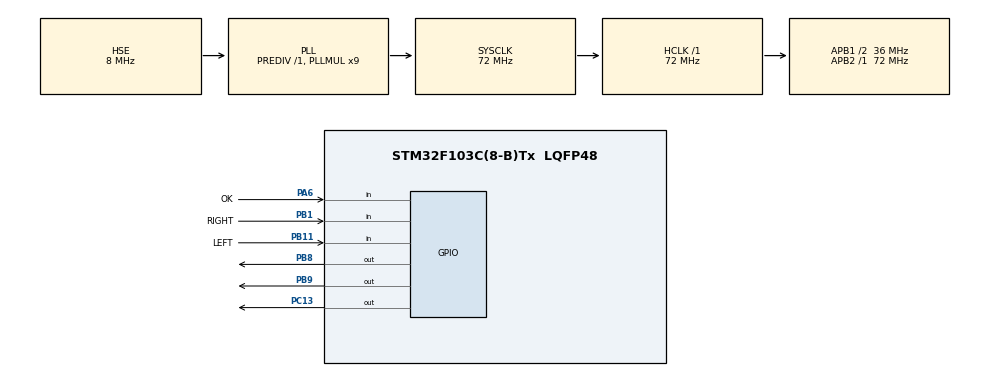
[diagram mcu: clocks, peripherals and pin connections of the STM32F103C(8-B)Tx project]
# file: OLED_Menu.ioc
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Mcu.Family=STM32F1
Mcu.Name=STM32F103C(8-B)Tx
Mcu.Package=LQFP48
NVIC.PriorityGroup=NVIC_PRIORITYGROUP_4
NVIC.TIM1_UP_IRQn=true\:0\:0\:false\:false\:true\:true\:true\:true
PA13.Mode=Serial_Wire
PA13.Signal=SYS_JTMS-SWDIO
PA14.Mode=Serial_Wire
PA14.Signal=SYS_JTCK-SWCLK
PA6.GPIO_Label=OK
PA6.GPIO_PuPd=GPIO_PULLUP
PA6.Signal=GPIO_Input
PB1.GPIO_Label=RIGHT
PB1.GPIO_PuPd=GPIO_PULLUP
PB1.Signal=GPIO_Input
PB11.GPIO_Label=LEFT
PB11.GPIO_PuPd=GPIO_PULLUP
PB11.Signal=GPIO_Input
PB8.Signal=GPIO_Output
PB9.Signal=GPIO_Output
PC13-TAMPER-RTC.PinState=GPIO_PIN_RESET
PC13-TAMPER-RTC.Signal=GPIO_Output
PD0-OSC_IN.Mode=HSE-External-Oscillator
PD0-OSC_IN.Signal=RCC_OSC_IN
PD1-OSC_OUT.Mode=HSE-External-Oscillator
PD1-OSC_OUT.Signal=RCC_OSC_OUT
ProjectManager.HeapSize=0x200
ProjectManager.StackSize=0x400
ProjectManager.TargetToolchain=MDK-ARM V5.32
RCC.AHBFreq_Value=72000000
RCC.APB1CLKDivider=RCC_HCLK_DIV2
RCC.APB1Freq_Value=36000000
RCC.APB1TimFreq_Value=72000000
RCC.APB2Freq_Value=72000000
RCC.APB2TimFreq_Value=72000000
RCC.HCLKFreq_Value=72000000
RCC.PLLMUL=RCC_PLL_MUL9
RCC.PLLSourceVirtual=RCC_PLLSOURCE_HSE
RCC.SYSCLKFreq_VALUE=72000000
RCC.SYSCLKSource=RCC_SYSCLKSOURCE_PLLCLK
RCC.USBFreq_Value=72000000
TIM1.Period=10000 - 1
TIM1.Prescaler=72 - 1
TIM1.TIM_MasterOutputTrigger=TIM_TRGO_UPDATE
VP_TIM1_VS_ClockSourceINT.Mode=Internal
board=custom

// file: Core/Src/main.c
/* USER CODE BEGIN Header */
/**
 ******************************************************************************
 * @file           : main.c
 * @brief          : Main program body
 ******************************************************************************
 * @attention
 *
 * Copyright (c) 2025 STMicroelectronics.
 * All rights reserved.
 *
 * This software is licensed under terms that can be found in the LICENSE file
 * in the root directory of this software component.
 * If no LICENSE file comes with this software, it is provided AS-IS.
 *
 ******************************************************************************
 */
/* USER CODE END Header */
#include "main.h"
#include "tim.h"
#include "gpio.h"

/* USER CODE BEGIN Includes */
#include "OLED.h"
#include "Menu.h"
#include "MenuItems.h"
#include "key.h"
/* USER CODE END Includes */

void SystemClock_Config(void);
/* USER CODE BEGIN PFP */
void Key_Init(void);
void on_left_single_pressed(KEY_NAME name, KEY_EVENT event);
void on_right_single_pressed(KEY_NAME name, KEY_EVENT event);
void on_ok_single_pressed(KEY_NAME name, KEY_EVENT event);
void on_ok_long_pressed(KEY_NAME name, KEY_EVENT event);
/* USER CODE END PFP */

int main(void)
{

  /* MCU Configuration--------------------------------------------------------*/

  /* Reset of all peripherals, Initializes the Flash interface and the Systick. */
  HAL_Init();

  /* Configure the system clock */
  SystemClock_Config();

  /* Initialize all configured peripherals */
  MX_GPIO_Init();
  MX_TIM1_Init();
  /* USER CODE BEGIN 2 */
  /*OLED初始化*/
  OLED_Init();

  // 初始化菜单
  Init_Menu();

  // 按键初始化
  Key_Init();

  // 显示菜单
  Menu_Display();

  /* USER CODE END 2 */

  /* Infinite loop */
  while (1)
  {

    /* USER CODE BEGIN 3 */
    button_handle_event(Key_triggered); // 检测按钮状态
    Menu_RunOneFrameAnim(); // 运行一帧动画

  }
  /* USER CODE END 3 */
}

void SystemClock_Config(void)
{
  RCC_OscInitTypeDef RCC_OscInitStruct = {0};
  RCC_ClkInitTypeDef RCC_ClkInitStruct = {0};

  /** Initializes the RCC Oscillators according to the specified parameters
   * in the RCC_OscInitTypeDef structure.
   */
  RCC_OscInitStruct.OscillatorType = RCC_OSCILLATORTYPE_HSE;
  RCC_OscInitStruct.HSEState = RCC_HSE_ON;
  RCC_OscInitStruct.HSEPredivValue = RCC_HSE_PREDIV_DIV1;
  RCC_OscInitStruct.HSIState = RCC_HSI_ON;
  RCC_OscInitStruct.PLL.PLLState = RCC_PLL_ON;
  RCC_OscInitStruct.PLL.PLLSource = RCC_PLLSOURCE_HSE;
  RCC_OscInitStruct.PLL.PLLMUL = RCC_PLL_MUL9;
  if (HAL_RCC_OscConfig(&RCC_OscInitStruct) != HAL_OK)
  {
    Error_Handler();
  }

  /** Initializes the CPU, AHB and APB buses clocks
   */
  RCC_ClkInitStruct.ClockType = RCC_CLOCKTYPE_HCLK | RCC_CLOCKTYPE_SYSCLK | RCC_CLOCKTYPE_PCLK1 | RCC_CLOCKTYPE_PCLK2;
  RCC_ClkInitStruct.SYSCLKSource = RCC_SYSCLKSOURCE_PLLCLK;
  RCC_ClkInitStruct.AHBCLKDivider = RCC_SYSCLK_DIV1;
  RCC_ClkInitStruct.APB1CLKDivider = RCC_HCLK_DIV2;
  RCC_ClkInitStruct.APB2CLKDivider = RCC_HCLK_DIV1;

  if (HAL_RCC_ClockConfig(&RCC_ClkInitStruct, FLASH_LATENCY_2) != HAL_OK)
  {
    Error_Handler();
  }
}

/* USER CODE BEGIN 4 */
void HAL_TIM_PeriodElapsedCallback(TIM_HandleTypeDef *htim)
{
  if (htim->Instance == TIM1)
  {
    button_process_tick();
  }
}

void HAL_SYSTICK_Callback(void)
{
  if (menu_manager.anim_state.is_running)
  {
    if (menu_manager.anim_state.timer < menu_manager.anim_state.time_per_frame)
    {
      menu_manager.anim_state.timer++;
    }
  }
}
void Key_Init(void)
{
  button_set_callback(KEY1, BTN_E_SINGLE_PRESSED, on_left_single_pressed);
  button_set_callback(KEY2, BTN_E_SINGLE_PRESSED, on_right_single_pressed);
  button_set_callback(KEY3, BTN_E_SINGLE_PRESSED, on_ok_single_pressed);
  button_set_callback(KEY3, BTN_E_LONG_PRESSED, on_ok_long_pressed);

  HAL_TIM_Base_Start_IT(&htim1);
}

void on_left_single_pressed(KEY_NAME name, KEY_EVENT event)
{
  Menu_SelectPrev();
  // static int count = 0;
  // OLED_ShowNum(0, 0, count++, 3, OLED_8X16);
  // OLED_Update();
}

void on_ok_long_pressed(KEY_NAME name, KEY_EVENT event)
{
  Menu_GoBack();
}

void on_right_single_pressed(KEY_NAME name, KEY_EVENT event)
{
  Menu_SelectNext();
  // OLED_ShowString(0, 0, "right", OLED_8X16);
  // OLED_Update();
}

void on_ok_single_pressed(KEY_NAME name, KEY_EVENT event)
{
  Menu_ExecuteAction();
  // OLED_ShowString(0, 0, "ok", OLED_8X16);
  // OLED_Update();
}
/* USER CODE END 4 */

void Error_Handler(void)
{
  __disable_irq();
  while (1)
  {
  }
}
